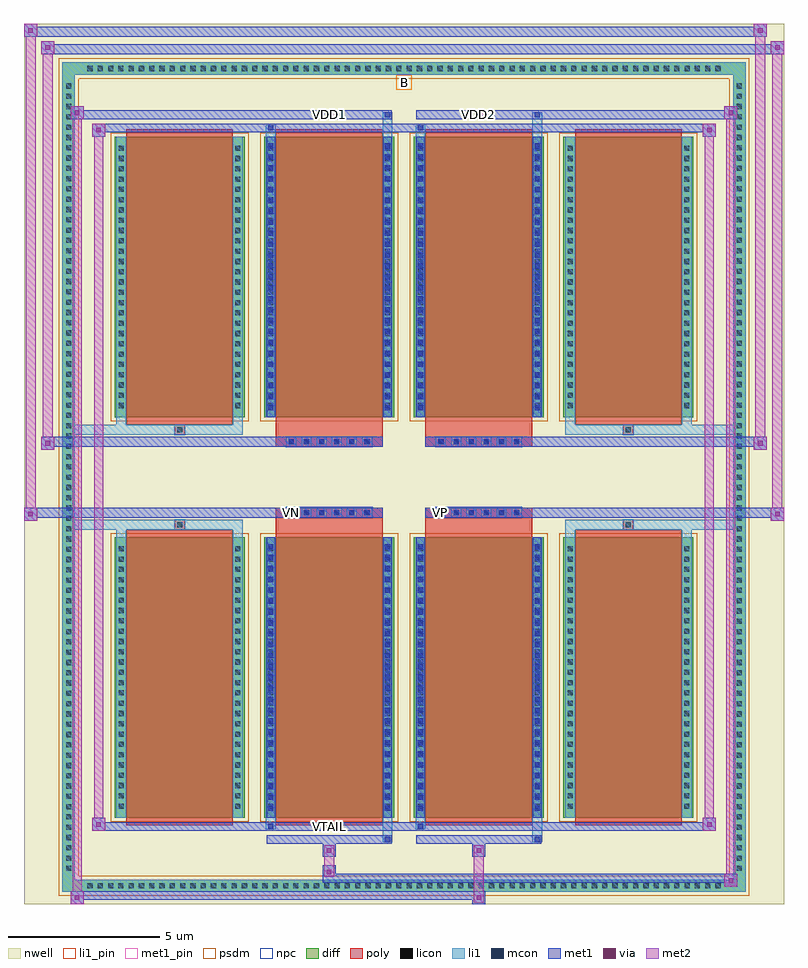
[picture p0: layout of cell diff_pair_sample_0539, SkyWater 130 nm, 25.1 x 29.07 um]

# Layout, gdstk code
import gdstk
lib = gdstk.Library(unit=1e-6, precision=5e-09)
def R(c, l, rs):  # rectangles x0, y0, x1, y1
    for r in rs: c.add(gdstk.rectangle(r[:2], r[2:], *l))
def A(c, l, x, y, w, h, nx, ny, dx, dy):  # array of equal rectangles
    R(c, l, [(x+i*dx, y+j*dy, x+i*dx+w, y+j*dy+h) for i in range(nx) for j in range(ny)])
def P(c, l, *ps):  # polygons
    for p in ps: c.add(gdstk.Polygon(p, *l))
nwell = (64, 20)
diff = (65, 20)
poly = (66, 20)
licon = (66, 44)
li1_pin = (67, 16)
li1 = (67, 20)
mcon = (67, 44)
met1_pin = (68, 16)
met1 = (68, 20)
via = (68, 44)
met2 = (69, 20)
psdm = (94, 20)
npc = (95, 20)

diff_pair_sample_0539 = lib.new_cell('diff_pair_sample_0539')
R(diff_pair_sample_0539, nwell, [(-12.55,-14.1,12.55,14.97), (-9.87,-12.29,-0.01,-0.805), (0.01,-12.29,9.87,-0.805), (-9.87,0.805,-0.01,12.29), (0.01,0.805,9.87,12.29)])
A(diff_pair_sample_0539, diff, -10.575, -13.7, 0.41, 0.41, 62, 2, 0.34, 26.99)
A(diff_pair_sample_0539, diff, -11.28, -13.125, 0.41, 0.41, 1, 77, 0, 0.34)
A(diff_pair_sample_0539, diff, 10.87, -13.125, 0.41, 0.41, 1, 77, 0, 0.34)
A(diff_pair_sample_0539, diff, -9.56, -11.245, 4.3, 9.26, 4, 2, 4.94, 13.23)
R(diff_pair_sample_0539, diff, [(-10.575,-13.7,10.575,-13.29), (-11.28,-13.125,-10.87,13.125), (10.87,-13.125,11.28,13.125), (-10.575,13.29,10.575,13.7)])
P(diff_pair_sample_0539, diff, [(11.28,13.7),(-11.28,13.7),(-11.28,-13.29),(-10.87,-13.29),(-10.87,13.29),(10.87,13.29),(10.87,-13.29),(-10.87,-13.29),(-11.28,-13.29),(-11.28,-13.7),(11.28,-13.7)])
A(diff_pair_sample_0539, poly, -9.17, -11.495, 3.52, 9.76, 4, 2, 4.94, 13.23)
A(diff_pair_sample_0539, poly, -3.885, -1.335, 0.33, 0.33, 6, 2, 0.5, 2.34)
A(diff_pair_sample_0539, poly, 1.055, -1.335, 0.33, 0.33, 6, 2, 0.5, 2.34)
R(diff_pair_sample_0539, poly, [(-7.575,-1.735,-7.245,-1.405), (-7.575,-1.735,-7.245,-1.405), (-4.23,-1.735,-0.71,-1.335), (0.71,-1.735,4.23,-1.335), (7.245,-1.735,7.575,-1.405), (7.245,-1.735,7.575,-1.405), (-4.23,-1.335,-0.71,-1.005), (0.71,-1.335,4.23,-1.005), (-4.23,1.005,-0.71,1.335), (0.71,1.005,4.23,1.335), (-4.23,1.335,-0.71,1.735), (0.71,1.335,4.23,1.735), (-7.575,1.405,-7.245,1.735), (-7.575,1.405,-7.245,1.735), (7.245,1.405,7.575,1.735), (7.245,1.405,7.575,1.735)])
A(diff_pair_sample_0539, licon, -10.455, -13.58, 0.17, 0.17, 62, 2, 0.34, 26.99)
A(diff_pair_sample_0539, licon, -11.16, -13.005, 0.17, 0.17, 1, 77, 0, 0.34)
A(diff_pair_sample_0539, licon, 10.99, -13.005, 0.17, 0.17, 1, 77, 0, 0.34)
A(diff_pair_sample_0539, licon, -9.42, -10.95, 0.17, 0.17, 1, 26, 0, 0.34)
A(diff_pair_sample_0539, licon, -5.57, -10.95, 0.17, 0.17, 1, 26, 0, 0.34)
A(diff_pair_sample_0539, licon, -4.48, -10.95, 0.17, 0.17, 1, 26, 0, 0.34)
A(diff_pair_sample_0539, licon, -0.63, -10.95, 0.17, 0.17, 1, 26, 0, 0.34)
A(diff_pair_sample_0539, licon, 0.46, -10.95, 0.17, 0.17, 1, 26, 0, 0.34)
A(diff_pair_sample_0539, licon, 4.31, -10.95, 0.17, 0.17, 1, 26, 0, 0.34)
A(diff_pair_sample_0539, licon, 5.4, -10.95, 0.17, 0.17, 1, 26, 0, 0.34)
A(diff_pair_sample_0539, licon, 9.25, -10.95, 0.17, 0.17, 1, 26, 0, 0.34)
A(diff_pair_sample_0539, licon, -3.805, -1.255, 0.17, 0.17, 6, 2, 0.5, 2.34)
A(diff_pair_sample_0539, licon, 1.135, -1.255, 0.17, 0.17, 6, 2, 0.5, 2.34)
A(diff_pair_sample_0539, licon, -9.42, 2.28, 0.17, 0.17, 1, 26, 0, 0.34)
A(diff_pair_sample_0539, licon, -5.57, 2.28, 0.17, 0.17, 1, 26, 0, 0.34)
A(diff_pair_sample_0539, licon, -4.48, 2.28, 0.17, 0.17, 1, 26, 0, 0.34)
A(diff_pair_sample_0539, licon, -0.63, 2.28, 0.17, 0.17, 1, 26, 0, 0.34)
A(diff_pair_sample_0539, licon, 0.46, 2.28, 0.17, 0.17, 1, 26, 0, 0.34)
A(diff_pair_sample_0539, licon, 4.31, 2.28, 0.17, 0.17, 1, 26, 0, 0.34)
A(diff_pair_sample_0539, licon, 5.4, 2.28, 0.17, 0.17, 1, 26, 0, 0.34)
A(diff_pair_sample_0539, licon, 9.25, 2.28, 0.17, 0.17, 1, 26, 0, 0.34)
R(diff_pair_sample_0539, licon, [(-7.495,-1.655,-7.325,-1.485), (7.325,-1.655,7.495,-1.485), (-7.495,1.485,-7.325,1.655), (7.325,1.485,7.495,1.655)])
R(diff_pair_sample_0539, li1_pin, [(-0.25,12.79,0.25,13.29)])
A(diff_pair_sample_0539, li1, -10.535, -13.66, 0.33, 0.33, 62, 2, 0.34, 26.99)
A(diff_pair_sample_0539, li1, -11.24, -13.085, 0.33, 0.33, 1, 77, 0, 0.34)
A(diff_pair_sample_0539, li1, 10.91, -13.085, 0.33, 0.33, 1, 77, 0, 0.34)
A(diff_pair_sample_0539, li1, -9.5, -11.03, 0.33, 0.33, 1, 26, 0, 0.34)
A(diff_pair_sample_0539, li1, -5.65, -11.03, 0.33, 0.33, 1, 26, 0, 0.34)
A(diff_pair_sample_0539, li1, -4.56, -11.03, 0.33, 0.33, 1, 26, 0, 0.34)
A(diff_pair_sample_0539, li1, -0.71, -11.03, 0.33, 0.33, 1, 26, 0, 0.34)
A(diff_pair_sample_0539, li1, 0.38, -11.03, 0.33, 0.33, 1, 26, 0, 0.34)
A(diff_pair_sample_0539, li1, 4.23, -11.03, 0.33, 0.33, 1, 26, 0, 0.34)
A(diff_pair_sample_0539, li1, 5.32, -11.03, 0.33, 0.33, 1, 26, 0, 0.34)
A(diff_pair_sample_0539, li1, 9.17, -11.03, 0.33, 0.33, 1, 26, 0, 0.34)
A(diff_pair_sample_0539, li1, -4.48, -11.02, 0.17, 0.17, 1, 25, 0, 0.36)
A(diff_pair_sample_0539, li1, -0.63, -11.02, 0.17, 0.17, 1, 25, 0, 0.36)
A(diff_pair_sample_0539, li1, 0.46, -11.02, 0.17, 0.17, 1, 25, 0, 0.36)
A(diff_pair_sample_0539, li1, 4.31, -11.02, 0.17, 0.17, 1, 25, 0, 0.36)
A(diff_pair_sample_0539, li1, -3.885, -1.335, 0.33, 0.33, 6, 2, 0.5, 2.34)
A(diff_pair_sample_0539, li1, 1.055, -1.335, 0.33, 0.33, 6, 2, 0.5, 2.34)
A(diff_pair_sample_0539, li1, -9.5, 2.2, 0.33, 0.33, 1, 26, 0, 0.34)
A(diff_pair_sample_0539, li1, -5.65, 2.2, 0.33, 0.33, 1, 26, 0, 0.34)
A(diff_pair_sample_0539, li1, -4.56, 2.2, 0.33, 0.33, 1, 26, 0, 0.34)
A(diff_pair_sample_0539, li1, -0.71, 2.2, 0.33, 0.33, 1, 26, 0, 0.34)
A(diff_pair_sample_0539, li1, 0.38, 2.2, 0.33, 0.33, 1, 26, 0, 0.34)
A(diff_pair_sample_0539, li1, 4.23, 2.2, 0.33, 0.33, 1, 26, 0, 0.34)
A(diff_pair_sample_0539, li1, 5.32, 2.2, 0.33, 0.33, 1, 26, 0, 0.34)
A(diff_pair_sample_0539, li1, 9.17, 2.2, 0.33, 0.33, 1, 26, 0, 0.34)
A(diff_pair_sample_0539, li1, -4.48, 2.21, 0.17, 0.17, 1, 25, 0, 0.36)
A(diff_pair_sample_0539, li1, -0.63, 2.21, 0.17, 0.17, 1, 25, 0, 0.36)
A(diff_pair_sample_0539, li1, 0.46, 2.21, 0.17, 0.17, 1, 25, 0, 0.36)
A(diff_pair_sample_0539, li1, 4.31, 2.21, 0.17, 0.17, 1, 25, 0, 0.36)
R(diff_pair_sample_0539, li1, [(-11.28,-13.7,-10.87,-13.29), (-11.28,-13.7,-10.87,-13.29), (-10.87,-13.7,10.87,-13.29), (10.87,-13.7,11.28,-13.29), (10.87,-13.7,11.28,-13.29), (-11.28,-13.29,-10.87,13.29), (10.87,-13.29,11.28,13.29), (-0.71,-12.05,-0.38,-11.245), (-0.63,-12.05,-0.46,-11.88), (4.23,-12.05,4.56,-11.245), (4.31,-12.05,4.48,-11.88), (-4.56,-11.62,-4.23,-11.245), (-4.48,-11.62,-4.31,-11.45), (0.38,-11.62,0.71,-11.245), (0.46,-11.62,0.63,-11.45), (-9.5,-11.245,-9.17,-1.985), (-5.65,-11.245,-5.32,-1.985), (-4.56,-11.245,-4.23,-1.985), (-0.71,-11.245,-0.38,-1.985), (0.38,-11.245,0.71,-1.985), (4.23,-11.245,4.56,-1.985), (5.32,-11.245,5.65,-1.985), (9.17,-11.245,9.5,-1.985), (-4.48,-11.02,-4.31,-2.21), (-0.63,-11.02,-0.46,-2.21), (0.46,-11.02,0.63,-2.21), (4.31,-11.02,4.48,-2.21), (-9.5,-1.985,-9.17,-1.405), (-5.65,-1.985,-5.32,-1.405), (5.32,-1.985,5.65,-1.405), (9.17,-1.985,9.5,-1.405), (-11.28,-1.735,-7.575,-1.405), (-9.5,-1.735,-7.575,-1.405), (-7.575,-1.735,-7.245,-1.405), (-7.245,-1.735,-5.32,-1.405), (5.32,-1.735,7.245,-1.405), (7.245,-1.735,7.575,-1.405), (7.245,-1.735,11.28,-1.405), (7.575,-1.735,9.5,-1.405), (-11.28,1.405,-7.575,1.735), (-9.5,1.405,-7.575,1.735), (-9.5,1.405,-9.17,1.985), (-7.575,1.405,-7.245,1.735), (-7.245,1.405,-5.32,1.735), (-5.65,1.405,-5.32,1.985), (5.32,1.405,7.245,1.735), (5.32,1.405,5.65,1.985), (7.245,1.405,7.575,1.735), (7.245,1.405,11.28,1.735), (7.575,1.405,9.5,1.735), (9.17,1.405,9.5,1.985), (-9.5,1.985,-9.17,11.245), (-5.65,1.985,-5.32,11.245), (-4.56,1.985,-4.23,11.245), (-0.71,1.985,-0.38,11.245), (0.38,1.985,0.71,11.245), (4.23,1.985,4.56,11.245), (5.32,1.985,5.65,11.245), (9.17,1.985,9.5,11.245), (-4.48,2.21,-4.31,11.02), (-0.63,2.21,-0.46,11.02), (0.46,2.21,0.63,11.02), (4.31,2.21,4.48,11.02), (-4.56,11.245,-4.23,11.62), (-0.71,11.245,-0.38,12.05), (0.38,11.245,0.71,11.62), (4.23,11.245,4.56,12.05), (-4.48,11.45,-4.31,11.62), (0.46,11.45,0.63,11.62), (-0.63,11.88,-0.46,12.05), (4.31,11.88,4.48,12.05), (-11.28,13.29,-10.87,13.7), (-11.28,13.29,-10.87,13.7), (-10.87,13.29,10.87,13.7), (10.87,13.29,11.28,13.7), (10.87,13.29,11.28,13.7)])
A(diff_pair_sample_0539, mcon, -4.48, -11.02, 0.17, 0.17, 1, 25, 0, 0.36)
A(diff_pair_sample_0539, mcon, -0.63, -11.02, 0.17, 0.17, 1, 25, 0, 0.36)
A(diff_pair_sample_0539, mcon, 0.46, -11.02, 0.17, 0.17, 1, 25, 0, 0.36)
A(diff_pair_sample_0539, mcon, 4.31, -11.02, 0.17, 0.17, 1, 25, 0, 0.36)
A(diff_pair_sample_0539, mcon, -3.805, -1.255, 0.17, 0.17, 6, 2, 0.5, 2.34)
A(diff_pair_sample_0539, mcon, 1.135, -1.255, 0.17, 0.17, 6, 2, 0.5, 2.34)
A(diff_pair_sample_0539, mcon, -4.48, 2.21, 0.17, 0.17, 1, 25, 0, 0.36)
A(diff_pair_sample_0539, mcon, -0.63, 2.21, 0.17, 0.17, 1, 25, 0, 0.36)
A(diff_pair_sample_0539, mcon, 0.46, 2.21, 0.17, 0.17, 1, 25, 0, 0.36)
A(diff_pair_sample_0539, mcon, 4.31, 2.21, 0.17, 0.17, 1, 25, 0, 0.36)
R(diff_pair_sample_0539, mcon, [(-0.63,-12.05,-0.46,-11.88), (4.31,-12.05,4.48,-11.88), (-4.48,-11.62,-4.31,-11.45), (0.46,-11.62,0.63,-11.45), (-4.48,11.45,-4.31,11.62), (0.46,11.45,0.63,11.62), (-0.63,11.88,-0.46,12.05), (4.31,11.88,4.48,12.05)])
R(diff_pair_sample_0539, met1_pin, [(-2.605,-11.66,-2.335,-11.39), (-3.855,-1.295,-3.585,-1.025), (1.085,-1.295,1.355,-1.025), (-2.605,11.84,-2.335,12.11), (2.335,11.84,2.605,12.11)])
A(diff_pair_sample_0539, met1, -4.54, -11.08, 0.29, 0.29, 1, 25, 0, 0.36)
A(diff_pair_sample_0539, met1, -0.69, -11.08, 0.29, 0.29, 1, 25, 0, 0.36)
A(diff_pair_sample_0539, met1, 0.4, -11.08, 0.29, 0.29, 1, 25, 0, 0.36)
A(diff_pair_sample_0539, met1, 4.25, -11.08, 0.29, 0.29, 1, 25, 0, 0.36)
A(diff_pair_sample_0539, met1, -3.865, -1.315, 0.29, 0.29, 6, 2, 0.5, 2.34)
A(diff_pair_sample_0539, met1, 1.075, -1.315, 0.29, 0.29, 6, 2, 0.5, 2.34)
A(diff_pair_sample_0539, met1, -4.54, 2.15, 0.29, 0.29, 1, 25, 0, 0.36)
A(diff_pair_sample_0539, met1, -0.69, 2.15, 0.29, 0.29, 1, 25, 0, 0.36)
A(diff_pair_sample_0539, met1, 0.4, 2.15, 0.29, 0.29, 1, 25, 0, 0.36)
A(diff_pair_sample_0539, met1, 4.25, 2.15, 0.29, 0.29, 1, 25, 0, 0.36)
R(diff_pair_sample_0539, met1, [(-11.01,-14.1,-10.58,-13.67), (2.255,-14.1,2.685,-13.67), (-11.01,-13.96,2.685,-13.67), (10.58,-13.53,11.01,-13.1), (-2.685,-13.39,11.01,-13.1), (-2.685,-13.25,-2.255,-12.82), (-2.685,-12.54,-2.255,-12.11), (2.255,-12.54,2.685,-12.11), (-4.54,-12.11,-0.4,-11.82), (-0.69,-12.11,-0.4,-11.82), (0.4,-12.11,4.54,-11.82), (4.25,-12.11,4.54,-11.82), (-10.3,-11.68,-9.87,-11.25), (-10.3,-11.68,-4.54,-11.39), (-4.54,-11.68,-4.25,-11.39), (-4.54,-11.68,-0.4,-11.39), (-0.4,-11.68,0.4,-11.39), (0.4,-11.68,0.69,-11.39), (0.4,-11.68,4.54,-11.39), (4.54,-11.68,10.3,-11.39), (9.87,-11.68,10.3,-11.25), (-4.54,-11.245,-4.25,-1.985), (-0.69,-11.245,-0.4,-1.985), (0.4,-11.245,0.69,-1.985), (4.25,-11.245,4.54,-1.985), (-12.55,-1.435,-12.12,-1.005), (12.12,-1.435,12.55,-1.005), (-12.55,-1.335,-0.71,-1.005), (-4.23,-1.335,-0.71,-1.005), (0.71,-1.335,4.23,-1.005), (0.71,-1.335,12.55,-1.005), (-11.98,0.905,-11.55,1.335), (11.55,0.905,11.98,1.335), (-11.98,1.005,-4.23,1.335), (-4.23,1.005,-0.71,1.335), (0.71,1.005,4.23,1.335), (4.23,1.005,11.98,1.335), (-4.54,1.985,-4.25,11.245), (-0.69,1.985,-0.4,11.245), (0.4,1.985,0.69,11.245), (4.25,1.985,4.54,11.245), (-10.3,11.25,-9.87,11.68), (9.87,11.25,10.3,11.68), (-10.3,11.39,-4.54,11.68), (-4.54,11.39,-4.25,11.68), (-4.54,11.39,-0.4,11.68), (-0.4,11.39,0.4,11.68), (0.4,11.39,0.69,11.68), (0.4,11.39,4.54,11.68), (4.54,11.39,10.3,11.68), (-11.01,11.82,-10.58,12.25), (-11.01,11.82,-4.54,12.11), (-4.54,11.82,-0.4,12.11), (-0.69,11.82,-0.4,12.11), (0.4,11.82,4.54,12.11), (4.25,11.82,4.54,12.11), (4.54,11.82,11.01,12.11), (10.58,11.82,11.01,12.25), (-11.98,13.97,-11.55,14.4), (-11.98,13.97,-9.87,14.3), (-9.87,13.97,9.87,14.3), (9.87,13.97,12.55,14.3), (12.12,13.97,12.55,14.4), (-12.55,14.54,-12.12,14.97), (-12.55,14.54,-9.87,14.87), (-9.87,14.54,9.87,14.87), (9.87,14.54,11.98,14.87), (11.55,14.54,11.98,14.97)])
R(diff_pair_sample_0539, via, [(-10.87,-13.96,-10.72,-13.81), (2.395,-13.96,2.545,-13.81), (10.72,-13.39,10.87,-13.24), (-2.545,-13.11,-2.395,-12.96), (-2.545,-12.4,-2.395,-12.25), (2.395,-12.4,2.545,-12.25), (-10.16,-11.54,-10.01,-11.39), (10.01,-11.54,10.16,-11.39), (-12.41,-1.295,-12.26,-1.145), (12.26,-1.295,12.41,-1.145), (-11.84,1.045,-11.69,1.195), (11.69,1.045,11.84,1.195), (-10.16,11.39,-10.01,11.54), (10.01,11.39,10.16,11.54), (-10.87,11.96,-10.72,12.11), (10.72,11.96,10.87,12.11), (-11.84,14.11,-11.69,14.26), (12.26,14.11,12.41,14.26), (-12.41,14.68,-12.26,14.83), (11.69,14.68,11.84,14.83)])
R(diff_pair_sample_0539, met2, [(-11.01,-14.1,-10.58,-13.67), (-10.94,-14.1,-10.65,12.25), (-10.65,-14.1,-10.58,-13.67), (-10.96,-14.05,-10.63,-13.72), (2.305,-14.05,2.635,-13.72), (2.305,-13.72,2.635,-12.49), (10.58,-13.53,11.01,-13.1), (10.65,-13.53,10.94,12.25), (10.94,-13.53,11.01,-13.1), (10.63,-13.48,10.96,-13.15), (-2.635,-13.2,-2.305,-12.87), (-2.635,-12.87,-2.305,-12.49), (-2.635,-12.49,-2.305,-12.16), (2.305,-12.49,2.635,-12.16), (-10.3,-11.68,-9.87,-11.25), (-10.23,-11.68,-9.94,11.68), (-9.94,-11.68,-9.87,-11.25), (9.87,-11.68,10.3,-11.25), (9.94,-11.68,10.23,11.68), (10.23,-11.68,10.3,-11.25), (-10.25,-11.63,-9.92,-11.3), (9.92,-11.63,10.25,-11.3), (-12.55,-1.435,-12.12,-1.005), (-12.5,-1.435,-12.17,14.97), (-12.17,-1.435,-12.12,-1.005), (12.12,-1.435,12.55,-1.005), (12.17,-1.435,12.5,14.4), (12.5,-1.435,12.55,-1.005), (-12.5,-1.385,-12.17,-1.055), (12.17,-1.385,12.5,-1.055), (-11.98,0.905,-11.55,1.335), (-11.93,0.905,-11.6,14.4), (-11.6,0.905,-11.55,1.335), (11.55,0.905,11.98,1.335), (11.6,0.905,11.93,14.97), (11.93,0.905,11.98,1.335), (-11.93,0.955,-11.6,1.285), (11.6,0.955,11.93,1.285), (-10.3,11.25,-9.87,11.68), (-9.94,11.25,-9.87,11.68), (9.87,11.25,10.3,11.68), (10.23,11.25,10.3,11.68), (-10.25,11.3,-9.92,11.63), (9.92,11.3,10.25,11.63), (-11.01,11.82,-10.58,12.25), (-10.65,11.82,-10.58,12.25), (10.58,11.82,11.01,12.25), (10.94,11.82,11.01,12.25), (-10.96,11.87,-10.63,12.2), (10.63,11.87,10.96,12.2), (-11.98,13.97,-11.55,14.4), (-11.6,13.97,-11.55,14.4), (12.12,13.97,12.55,14.4), (12.5,13.97,12.55,14.4), (-11.93,14.02,-11.6,14.35), (12.17,14.02,12.5,14.35), (-12.55,14.54,-12.12,14.97), (-12.17,14.54,-12.12,14.97), (11.55,14.54,11.98,14.97), (11.93,14.54,11.98,14.97), (-12.5,14.59,-12.17,14.92), (11.6,14.59,11.93,14.92)])
A(diff_pair_sample_0539, psdm, -9.69, -11.375, 4.56, 9.52, 4, 2, 4.94, 13.23)
P(diff_pair_sample_0539, psdm, [(11.41,13.83),(-11.41,13.83),(-11.41,-13.16),(-10.74,-13.16),(-10.74,13.16),(10.74,13.16),(10.74,-13.16),(-10.74,-13.16),(-11.41,-13.16),(-11.41,-13.83),(11.41,-13.83)])
A(diff_pair_sample_0539, npc, -3.905, -1.355, 0.37, 0.37, 6, 2, 0.5, 2.34)
A(diff_pair_sample_0539, npc, 1.035, -1.355, 0.37, 0.37, 6, 2, 0.5, 2.34)
R(diff_pair_sample_0539, npc, [(-7.595,-1.755,-7.225,-1.385), (7.225,-1.755,7.595,-1.385), (-3.905,-1.355,-3.035,-0.985), (-3.905,-1.355,-3.035,-0.985), (-3.405,-1.355,-2.535,-0.985), (-3.405,-1.355,-2.535,-0.985), (-2.905,-1.355,-2.035,-0.985), (-2.905,-1.355,-2.035,-0.985), (-2.405,-1.355,-1.535,-0.985), (-2.405,-1.355,-1.535,-0.985), (-1.905,-1.355,-1.035,-0.985), (-1.905,-1.355,-1.035,-0.985), (1.035,-1.355,1.905,-0.985), (1.035,-1.355,1.905,-0.985), (1.535,-1.355,2.405,-0.985), (1.535,-1.355,2.405,-0.985), (2.035,-1.355,2.905,-0.985), (2.035,-1.355,2.905,-0.985), (2.535,-1.355,3.405,-0.985), (2.535,-1.355,3.405,-0.985), (3.035,-1.355,3.905,-0.985), (3.035,-1.355,3.905,-0.985), (-3.905,0.985,-3.035,1.355), (-3.905,0.985,-3.035,1.355), (-3.405,0.985,-2.535,1.355), (-3.405,0.985,-2.535,1.355), (-2.905,0.985,-2.035,1.355), (-2.905,0.985,-2.035,1.355), (-2.405,0.985,-1.535,1.355), (-2.405,0.985,-1.535,1.355), (-1.905,0.985,-1.035,1.355), (-1.905,0.985,-1.035,1.355), (1.035,0.985,1.905,1.355), (1.035,0.985,1.905,1.355), (1.535,0.985,2.405,1.355), (1.535,0.985,2.405,1.355), (2.035,0.985,2.905,1.355), (2.035,0.985,2.905,1.355), (2.535,0.985,3.405,1.355), (2.535,0.985,3.405,1.355), (3.035,0.985,3.905,1.355), (3.035,0.985,3.905,1.355), (-7.595,1.385,-7.225,1.755), (7.225,1.385,7.595,1.755)])
diff_pair_sample_0539.add(gdstk.Label('VTAIL', (-2.47,-11.525), layer=68, texttype=5))
diff_pair_sample_0539.add(gdstk.Label('VN', (-3.72,-1.16), layer=68, texttype=5))
diff_pair_sample_0539.add(gdstk.Label('VP', (1.22,-1.16), layer=68, texttype=5))
diff_pair_sample_0539.add(gdstk.Label('B', (0,13.04), layer=67, texttype=5))
diff_pair_sample_0539.add(gdstk.Label('VDD2', (2.47,11.975), layer=68, texttype=5))
diff_pair_sample_0539.add(gdstk.Label('VDD1', (-2.47,11.975), layer=68, texttype=5))

lib.write_gds('diff_pair_sample_0539.gds')
